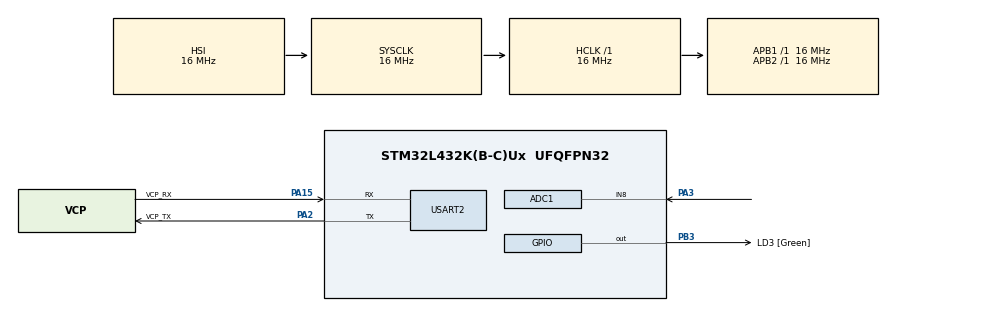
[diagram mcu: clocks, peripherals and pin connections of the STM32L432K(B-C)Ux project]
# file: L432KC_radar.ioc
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ADC1.Channel-0\#ChannelRegularConversion=ADC_CHANNEL_8
ADC1.DMAContinuousRequests=ENABLE
ADC1.ExternalTrigConv=ADC_EXTERNALTRIG_T1_TRGO
ADC1.NbrOfConversionFlag=1
ADC1.OffsetNumber-0\#ChannelRegularConversion=ADC_OFFSET_NONE
ADC1.Rank-0\#ChannelRegularConversion=1
ADC1.SamplingTime-0\#ChannelRegularConversion=ADC_SAMPLETIME_6CYCLES_5
ADC1.master=1
Dma.ADC1.0.Direction=DMA_PERIPH_TO_MEMORY
Dma.ADC1.0.Instance=DMA1_Channel1
Dma.ADC1.0.MemDataAlignment=DMA_MDATAALIGN_HALFWORD
Dma.ADC1.0.MemInc=DMA_MINC_ENABLE
Dma.ADC1.0.Mode=DMA_CIRCULAR
Dma.ADC1.0.PeriphDataAlignment=DMA_PDATAALIGN_HALFWORD
Dma.ADC1.0.PeriphInc=DMA_PINC_DISABLE
Dma.ADC1.0.Priority=DMA_PRIORITY_LOW
Dma.Request0=ADC1
Mcu.Family=STM32L4
Mcu.Name=STM32L432K(B-C)Ux
Mcu.Package=UFQFPN32
NVIC.ADC1_IRQn=true\:0\:0\:false\:false\:true\:true\:true\:true
NVIC.DMA1_Channel1_IRQn=true\:0\:0\:false\:false\:true\:false\:true\:true
NVIC.PriorityGroup=NVIC_PRIORITYGROUP_4
NVIC.TIM6_DAC_IRQn=true\:15\:0\:false\:false\:true\:false\:true\:true
NVIC.TimeBase=TIM6_DAC_IRQn
NVIC.TimeBaseIP=TIM6
PA0.GPIO_Label=MCO [High speed clock in]
PA0.Mode=HSE-External-Clock-Source-for-LittleOrca
PA0.Signal=RCC_CK_IN
PA13\ (JTMS-SWDIO).GPIO_Label=SWDIO
PA13\ (JTMS-SWDIO).Mode=Serial_Wire
PA13\ (JTMS-SWDIO).Signal=SYS_JTMS-SWDIO
PA14\ (JTCK-SWCLK).GPIO_Label=SWCLK
PA14\ (JTCK-SWCLK).Mode=Serial_Wire
PA14\ (JTCK-SWCLK).Signal=SYS_JTCK-SWCLK
PA15\ (JTDI).GPIO_Label=VCP_RX
PA15\ (JTDI).Mode=Asynchronous
PA15\ (JTDI).Signal=USART2_RX
PA2.GPIO_Label=VCP_TX
PA2.Mode=Asynchronous
PA2.Signal=USART2_TX
PA3.Signal=ADCx_IN8
PB3\ (JTDO-TRACESWO).GPIO_Label=LD3 [Green]
PB3\ (JTDO-TRACESWO).Signal=GPIO_Output
PC14-OSC32_IN\ (PC14).Mode=LSE-External-Oscillator
PC14-OSC32_IN\ (PC14).Signal=RCC_OSC32_IN
PC15-OSC32_OUT\ (PC15).Mode=LSE-External-Oscillator
PC15-OSC32_OUT\ (PC15).Signal=RCC_OSC32_OUT
ProjectManager.HeapSize=0x200
ProjectManager.StackSize=0x400
ProjectManager.TargetToolchain=STM32CubeIDE
RCC.ADCFreq_Value=64000000
RCC.AHBFreq_Value=16000000
RCC.APB1Freq_Value=16000000
RCC.APB1TimFreq_Value=16000000
RCC.APB2Freq_Value=16000000
RCC.APB2TimFreq_Value=16000000
RCC.CortexFreq_Value=16000000
RCC.HCLKFreq_Value=16000000
RCC.HSE_VALUE=8000000
RCC.HSI16_VALUE=16000000
RCC.HSI48_VALUE=48000000
RCC.HSI_VALUE=16000000
RCC.MSI_VALUE=4000000
RCC.PLLMUL=RCC_PLLMUL_4
RCC.PLLN=16
RCC.PLLSourceVirtual=RCC_PLLSOURCE_HSI
RCC.SYSCLKFreq_VALUE=16000000
RCC.SYSCLKSource=RCC_SYSCLKSOURCE_HSI
RCC.USBFreq_Value=64000000
RCC.VCOOutputFreq_Value=256000000
SH.ADCx_IN8.0=ADC1_IN8,IN8-Single-Ended
TIM1.Period=999
TIM1.Prescaler=15999
TIM1.TIM_MasterOutputTrigger=TIM_TRGO_UPDATE
USART2.VirtualMode-Asynchronous=VM_ASYNC
VP_SYS_VS_tim6.Mode=TIM6
VP_TIM1_VS_ClockSourceINT.Mode=Internal
board=NUCLEO-L432KC

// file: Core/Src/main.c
/* USER CODE BEGIN Header */
/**
  ******************************************************************************
  * @file           : main.c
  * @brief          : Main program body
  ******************************************************************************
  * @attention
  *
  * Copyright (c) 2025 STMicroelectronics.
  * All rights reserved.
  *
  * This software is licensed under terms that can be found in the LICENSE file
  * in the root directory of this software component.
  * If no LICENSE file comes with this software, it is provided AS-IS.
  *
  ******************************************************************************
  */
/* USER CODE END Header */
#include "main.h"
#include "adc.h"
#include "dma.h"
#include "tim.h"
#include "usart.h"
#include "gpio.h"

/* USER CODE BEGIN Includes */
#include "FreeRTOS.h"
#include "task.h"
#include "queue.h"
#include <stdio.h>
#include <string.h>
#include <math.h>
/* USER CODE END Includes */

/* USER CODE BEGIN PTD */
typedef struct {
    float amp_pp;
    uint8_t motion;
    float speed;
} motion_result_t;

typedef enum {
    MSG_RESULT,
    MSG_DEADLINE,
    MSG_WARN
} uart_msg_type_t;

typedef struct {
    uart_msg_type_t type;
    union {
        motion_result_t result;
        struct {
            uint32_t miss_cnt;
            uint32_t exec_ms;
        } deadline;
        struct {
            uint32_t code;
        } warn;
    } u;
} uart_msg_t;

typedef struct {
    uint16_t*   buf;
    uint32_t    N;
    float       fs;
    TickType_t  t_submit;
    TickType_t  deadline_ticks;
} dsp_job_t;

/* USER CODE END PTD */

/* USER CODE BEGIN PD */
#define ADC_BUF_LEN 256
/* USER CODE END PD */

/* USER CODE BEGIN PV */
static TaskHandle_t dispatch_task_handle = NULL;
static QueueHandle_t dsp_queue = NULL;
static QueueHandle_t uart_queue = NULL;
/* USER CODE END PV */

void SystemClock_Config(void);
/* USER CODE BEGIN PFP */
static void task_dispatch(void* parameters);
static void task_dsp(void* parameters);
static void task_uart(void* parameters);
/* USER CODE END PFP */

/* USER CODE BEGIN 0 */
static uint16_t adc_buf[ADC_BUF_LEN];
/* USER CODE END 0 */

int main(void)
{

  /* USER CODE BEGIN 1 */
  BaseType_t status;
  /* USER CODE END 1 */

  /* MCU Configuration--------------------------------------------------------*/

  /* Reset of all peripherals, Initializes the Flash interface and the Systick. */
  HAL_Init();

  /* Configure the system clock */
  SystemClock_Config();

  /* Initialize all configured peripherals */
  MX_GPIO_Init();
  MX_DMA_Init();
  MX_USART2_UART_Init();
  MX_ADC1_Init();
  MX_TIM1_Init();
  /* USER CODE BEGIN 2 */
  HAL_TIM_Base_Start(&htim1);
  /* Queue creation */
  uart_queue = xQueueCreate(8, sizeof(uart_msg_t));
  configASSERT(uart_queue != NULL);
  dsp_queue = xQueueCreate(4, sizeof(dsp_job_t));
  configASSERT(dsp_queue != NULL);
  /* Tasks creation */
  status = xTaskCreate(task_dispatch, "DISPATCH", 384, NULL, 3, &dispatch_task_handle);
  configASSERT(status == pdPASS);
  status = xTaskCreate(task_dsp, "DSP", 768, NULL, 2, NULL);
  configASSERT(status == pdPASS);
  status = xTaskCreate(task_uart, "UART", 256, NULL, 1, NULL);
  configASSERT(status == pdPASS);
  /* USER CODE END 2 */

  /* Infinite loop */
  /* USER CODE BEGIN WHILE */
  vTaskStartScheduler();
  while (1)
  {
    /* USER CODE END WHILE */

  }
}

void SystemClock_Config(void)
{
  RCC_OscInitTypeDef RCC_OscInitStruct = {0};
  RCC_ClkInitTypeDef RCC_ClkInitStruct = {0};

  /** Configure the main internal regulator output voltage
  */
  if (HAL_PWREx_ControlVoltageScaling(PWR_REGULATOR_VOLTAGE_SCALE1) != HAL_OK)
  {
    Error_Handler();
  }

  /** Initializes the RCC Oscillators according to the specified parameters
  * in the RCC_OscInitTypeDef structure.
  */
  RCC_OscInitStruct.OscillatorType = RCC_OSCILLATORTYPE_HSI;
  RCC_OscInitStruct.HSIState = RCC_HSI_ON;
  RCC_OscInitStruct.HSICalibrationValue = RCC_HSICALIBRATION_DEFAULT;
  RCC_OscInitStruct.PLL.PLLState = RCC_PLL_NONE;
  if (HAL_RCC_OscConfig(&RCC_OscInitStruct) != HAL_OK)
  {
    Error_Handler();
  }

  /** Initializes the CPU, AHB and APB buses clocks
  */
  RCC_ClkInitStruct.ClockType = RCC_CLOCKTYPE_HCLK|RCC_CLOCKTYPE_SYSCLK
                              |RCC_CLOCKTYPE_PCLK1|RCC_CLOCKTYPE_PCLK2;
  RCC_ClkInitStruct.SYSCLKSource = RCC_SYSCLKSOURCE_HSI;
  RCC_ClkInitStruct.AHBCLKDivider = RCC_SYSCLK_DIV1;
  RCC_ClkInitStruct.APB1CLKDivider = RCC_HCLK_DIV1;
  RCC_ClkInitStruct.APB2CLKDivider = RCC_HCLK_DIV1;

  if (HAL_RCC_ClockConfig(&RCC_ClkInitStruct, FLASH_LATENCY_0) != HAL_OK)
  {
    Error_Handler();
  }
}

/* USER CODE BEGIN 4 */
void HAL_ADC_ConvHalfCpltCallback(ADC_HandleTypeDef* hadc)
{
    BaseType_t xHigherPriorityTaskWoken = pdFALSE;
    if (hadc->Instance == ADC1)
    {
        xTaskNotifyFromISR(dispatch_task_handle, 0x01, eSetBits, &xHigherPriorityTaskWoken);
        portYIELD_FROM_ISR(xHigherPriorityTaskWoken);
    }
}

void HAL_ADC_ConvCpltCallback(ADC_HandleTypeDef* hadc)
{
    BaseType_t xHigherPriorityTaskWoken = pdFALSE;
    if (hadc->Instance == ADC1)
    {
        xTaskNotifyFromISR(dispatch_task_handle, 0x02, eSetBits, &xHigherPriorityTaskWoken);
        portYIELD_FROM_ISR(xHigherPriorityTaskWoken);
    }
}

static void task_dispatch(void* parameters)
{
    (void)parameters;

    HAL_ADC_Start_DMA(&hadc1, (uint32_t*)adc_buf, ADC_BUF_LEN);

    const float fs = 1000.0f;
    const uint32_t N = ADC_BUF_LEN / 2;
    // Czas okna danych lub sztywny próg
    const TickType_t deadline_ticks = pdMS_TO_TICKS(10);
    // const TickType_t deadline_ticks = pdMS_TO_TICKS((uint32_t)((1000.0f * (float)N) / fs));
    uint32_t notify = 0;

    while (1)
    {
        xTaskNotifyWait(0, 0xFFFFFFFF, &notify, portMAX_DELAY);

        uint16_t* buf = NULL;
        if (notify & 0x01)      buf = &adc_buf[0];
        else if (notify & 0x02) buf = &adc_buf[N];
        else                    continue;

        dsp_job_t job;
        job.buf = buf;
        job.N   = N;
        job.fs  = fs;
        job.t_submit = xTaskGetTickCount();
        job.deadline_ticks = deadline_ticks;

        if (xQueueSend(dsp_queue, &job, 0) != pdPASS)
        {
            uart_msg_t w;
            w.type = MSG_WARN;
            w.u.warn.code = 1; // 1 = DSP queue overflow
            (void)xQueueSend(uart_queue, &w, 0);
        }
    }
}

static void task_dsp(void* parameters)
{
    (void)parameters;

    const float fc = 10.525e9f;
    const float c  = 299792458.0f;

    static uint32_t deadline_miss_cnt = 0;

    while (1)
    {
        dsp_job_t job;
        xQueueReceive(dsp_queue, &job, portMAX_DELAY);

        TickType_t t0 = xTaskGetTickCount();

        // Fake delay - test DEADLINE MISS
        //vTaskDelay(pdMS_TO_TICKS(15));

        uint16_t* buf = job.buf;
        uint32_t N = job.N;
        float fs = job.fs;

        // DC removal
        float mean = 0.0f;
        for (uint32_t i = 0; i < N; i++) mean += buf[i];
        mean /= (float)N;

        // peak-to-peak amplituda
        float minv =  1e9f;
        float maxv = -1e9f;

        for (uint32_t i = 0; i < N; i++)
        {
            float x = (float)buf[i] - mean;
            if (x < minv) minv = x;
            if (x > maxv) maxv = x;
        }
        float amp_pp = maxv - minv;

        // detekcja ruchu
        uint8_t motion = (amp_pp > 300.0f);

        float speed = 0.0f;
        if (motion)
        {
            uint32_t crossings = 0;
            for (uint32_t i = 1; i < N; i++)
            {
                float x0 = (float)buf[i-1] - mean;
                float x1 = (float)buf[i]   - mean;
                if (x0 < 0.0f && x1 >= 0.0f) crossings++;
            }

            float fd = ((float)crossings * fs) / (float)N;
            speed = (c * fd) / (2.0f * fc);
        }

        // Wynik -> UART
        uart_msg_t m;
        m.type = MSG_RESULT;
        m.u.result.amp_pp = amp_pp;
        m.u.result.motion = motion;
        m.u.result.speed  = speed;
        (void)xQueueSend(uart_queue, &m, 0);

        // Deadline check
        TickType_t t1 = xTaskGetTickCount();
        TickType_t latency = t1 - job.t_submit;

        if (latency > job.deadline_ticks)
        {
            deadline_miss_cnt++;
            uart_msg_t d;
            d.type = MSG_DEADLINE;
            d.u.deadline.miss_cnt = deadline_miss_cnt;
            d.u.deadline.exec_ms  = (uint32_t)(latency * portTICK_PERIOD_MS);
            (void)xQueueSend(uart_queue, &d, 0);
        }
        (void)t0;
    }
}

static void task_uart(void* parameters)
{
    (void)parameters;

    uart_msg_t m;
    char msg[128];

    while (1)
    {
        xQueueReceive(uart_queue, &m, portMAX_DELAY);

        if (m.type == MSG_RESULT)
        {
            snprintf(msg, sizeof(msg),
                     "amp_pp=%.1f motion=%d speed=%.2f m/s\r\n",
                     m.u.result.amp_pp, m.u.result.motion, m.u.result.speed);
        }
        else if (m.type == MSG_DEADLINE)
        {
            snprintf(msg, sizeof(msg),
                     "DEADLINE MISS: cnt=%lu latency=%lu ms\r\n",
                     (unsigned long)m.u.deadline.miss_cnt,
                     (unsigned long)m.u.deadline.exec_ms);
        }
        else // MSG_WARN
        {
            snprintf(msg, sizeof(msg),
                     "WARN: code=%lu\r\n",
                     (unsigned long)m.u.warn.code);
        }

        HAL_UART_Transmit(&huart2, (uint8_t*)msg, strlen(msg), HAL_MAX_DELAY);
    }
}

/* USER CODE END 4 */

void HAL_TIM_PeriodElapsedCallback(TIM_HandleTypeDef *htim)
{
  if (htim->Instance == TIM6)
  {
    HAL_IncTick();
  }
}

void Error_Handler(void)
{
  __disable_irq();
  while (1)
  {
  }
}
